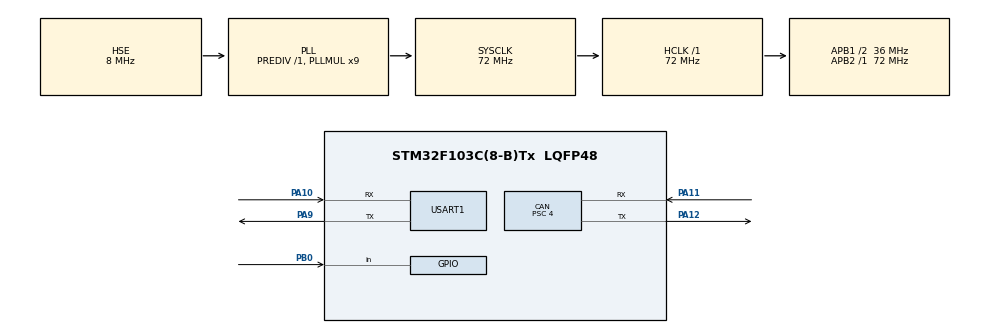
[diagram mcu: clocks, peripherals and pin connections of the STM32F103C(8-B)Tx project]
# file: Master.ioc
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CAN.BS1=CAN_BS1_14TQ
CAN.BS2=CAN_BS2_3TQ
CAN.CalculateBaudRate=500000
CAN.CalculateTimeBit=2000
CAN.CalculateTimeQuantum=111.11111111111111
CAN.NART=ENABLE
CAN.Prescaler=4
Mcu.Family=STM32F1
Mcu.Name=STM32F103C(8-B)Tx
Mcu.Package=LQFP48
NVIC.PriorityGroup=NVIC_PRIORITYGROUP_4
PA10.Mode=Asynchronous
PA10.Signal=USART1_RX
PA11.Mode=CAN_Activate
PA11.Signal=CAN_RX
PA12.Mode=CAN_Activate
PA12.Signal=CAN_TX
PA13.Mode=Serial_Wire
PA13.Signal=SYS_JTMS-SWDIO
PA14.Mode=Serial_Wire
PA14.Signal=SYS_JTCK-SWCLK
PA9.Mode=Asynchronous
PA9.Signal=USART1_TX
PB0.GPIO_PuPd=GPIO_PULLUP
PB0.Signal=GPIO_Input
PD0-OSC_IN.Mode=HSE-External-Oscillator
PD0-OSC_IN.Signal=RCC_OSC_IN
PD1-OSC_OUT.Mode=HSE-External-Oscillator
PD1-OSC_OUT.Signal=RCC_OSC_OUT
ProjectManager.HeapSize=0x200
ProjectManager.StackSize=0x400
ProjectManager.TargetToolchain=CMake
RCC.AHBFreq_Value=72000000
RCC.APB1CLKDivider=RCC_HCLK_DIV2
RCC.APB1Freq_Value=36000000
RCC.APB1TimFreq_Value=72000000
RCC.APB2Freq_Value=72000000
RCC.APB2TimFreq_Value=72000000
RCC.HCLKFreq_Value=72000000
RCC.PLLMUL=RCC_PLL_MUL9
RCC.PLLSourceVirtual=RCC_PLLSOURCE_HSE
RCC.SYSCLKFreq_VALUE=72000000
RCC.SYSCLKSource=RCC_SYSCLKSOURCE_PLLCLK
RCC.USBFreq_Value=72000000
USART1.VirtualMode=VM_ASYNC
board=custom

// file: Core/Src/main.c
/* USER CODE BEGIN Header */
/**
  ******************************************************************************
  * @file           : main.c
  * @brief          : Main program body
  ******************************************************************************
  * @attention
  *
  * Copyright (c) 2026 STMicroelectronics.
  * All rights reserved.
  *
  * This software is licensed under terms that can be found in the LICENSE file
  * in the root directory of this software component.
  * If no LICENSE file comes with this software, it is provided AS-IS.
  *
  ******************************************************************************
  */
/* USER CODE END Header */
#include "main.h"
#include "can.h"
#include "usart.h"
#include "gpio.h"

/* USER CODE BEGIN Includes */
#include <stdio.h>
/* USER CODE END Includes */

/* USER CODE BEGIN PV */
uint8_t can_tx_data = 0x11;

uint8_t can_rx_data[8];
uint16_t can_rx_id = 0;
uint8_t can_rx_len = 0;

uint32_t last_button_tick = 0;
GPIO_PinState last_button_state = GPIO_PIN_SET;

char uart_buffer[64];
/* USER CODE END PV */

void SystemClock_Config(void);

int main(void)
{

  /* MCU Configuration--------------------------------------------------------*/

  /* Reset of all peripherals, Initializes the Flash interface and the Systick. */
  HAL_Init();

  /* Configure the system clock */
  SystemClock_Config();

  /* Initialize all configured peripherals */
  MX_GPIO_Init();
  MX_CAN_Init();
  MX_USART1_UART_Init();
  /* USER CODE BEGIN 2 */
  if (CAN_User_Init() != HAL_OK)
  {
    Error_Handler();
  }
  /* USER CODE END 2 */

  /* Infinite loop */
  while (1)
  {

    /* USER CODE BEGIN 3 */
    //按键检测
    GPIO_PinState button_state =
        HAL_GPIO_ReadPin(GPIOB, GPIO_PIN_0);

    //检测 1 -> 0，也就是按键按下
    if (last_button_state == GPIO_PIN_SET &&
        button_state == GPIO_PIN_RESET)
    {
      //消抖
      if (HAL_GetTick() - last_button_tick >= 50)
      {
        last_button_tick = HAL_GetTick();

        CAN_SendStd(0x101,
                    &can_tx_data,
                    1);
      }
    }

    last_button_state = button_state;

    //CAN接收

    if (CAN_Receive(&can_rx_id,
                    can_rx_data,
                    &can_rx_len))
    {
      int len = snprintf(
          uart_buffer,
          sizeof(uart_buffer),
          "CAN RX ID:0x%03X DATA:0x%02X\r\n",
          can_rx_id,
          can_rx_data[0]
      );

      HAL_UART_Transmit(
          &huart1,
          (uint8_t *)uart_buffer,
          len,
          100
      );
    }
  }
  /* USER CODE END 3 */
}

void SystemClock_Config(void)
{
  RCC_OscInitTypeDef RCC_OscInitStruct = {0};
  RCC_ClkInitTypeDef RCC_ClkInitStruct = {0};

  /** Initializes the RCC Oscillators according to the specified parameters
  * in the RCC_OscInitTypeDef structure.
  */
  RCC_OscInitStruct.OscillatorType = RCC_OSCILLATORTYPE_HSE;
  RCC_OscInitStruct.HSEState = RCC_HSE_ON;
  RCC_OscInitStruct.HSEPredivValue = RCC_HSE_PREDIV_DIV1;
  RCC_OscInitStruct.HSIState = RCC_HSI_ON;
  RCC_OscInitStruct.PLL.PLLState = RCC_PLL_ON;
  RCC_OscInitStruct.PLL.PLLSource = RCC_PLLSOURCE_HSE;
  RCC_OscInitStruct.PLL.PLLMUL = RCC_PLL_MUL9;
  if (HAL_RCC_OscConfig(&RCC_OscInitStruct) != HAL_OK)
  {
    Error_Handler();
  }

  /** Initializes the CPU, AHB and APB buses clocks
  */
  RCC_ClkInitStruct.ClockType = RCC_CLOCKTYPE_HCLK|RCC_CLOCKTYPE_SYSCLK
                              |RCC_CLOCKTYPE_PCLK1|RCC_CLOCKTYPE_PCLK2;
  RCC_ClkInitStruct.SYSCLKSource = RCC_SYSCLKSOURCE_PLLCLK;
  RCC_ClkInitStruct.AHBCLKDivider = RCC_SYSCLK_DIV1;
  RCC_ClkInitStruct.APB1CLKDivider = RCC_HCLK_DIV2;
  RCC_ClkInitStruct.APB2CLKDivider = RCC_HCLK_DIV1;

  if (HAL_RCC_ClockConfig(&RCC_ClkInitStruct, FLASH_LATENCY_2) != HAL_OK)
  {
    Error_Handler();
  }
}

void Error_Handler(void)
{
  __disable_irq();
  while (1)
  {
  }
}
